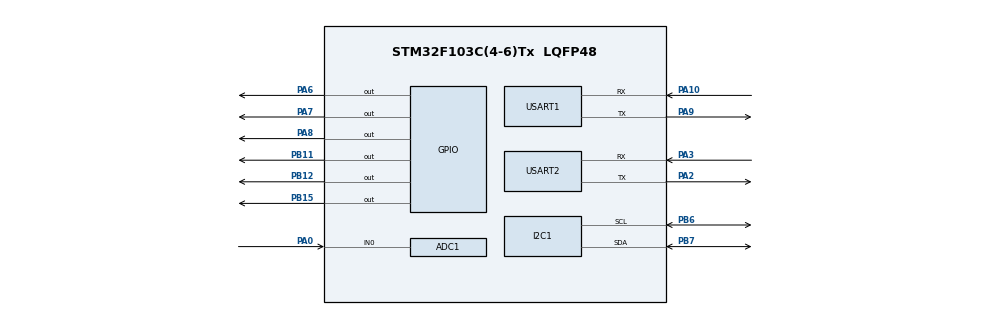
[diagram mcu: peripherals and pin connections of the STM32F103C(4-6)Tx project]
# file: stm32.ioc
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ADC1.Channel-0\#ChannelRegularConversion=ADC_CHANNEL_0
ADC1.NbrOfConversionFlag=1
ADC1.Rank-0\#ChannelRegularConversion=1
ADC1.SamplingTime-0\#ChannelRegularConversion=ADC_SAMPLETIME_1CYCLE_5
ADC1.master=1
Mcu.Family=STM32F1
Mcu.Name=STM32F103C(4-6)Tx
Mcu.Package=LQFP48
NVIC.PriorityGroup=NVIC_PRIORITYGROUP_4
PA0-WKUP.Signal=ADCx_IN0
PA10.Mode=Asynchronous
PA10.Signal=USART1_RX
PA13.Mode=Serial_Wire
PA13.Signal=SYS_JTMS-SWDIO
PA14.Mode=Serial_Wire
PA14.Signal=SYS_JTCK-SWCLK
PA2.Mode=Asynchronous
PA2.Signal=USART2_TX
PA3.Mode=Asynchronous
PA3.Signal=USART2_RX
PA6.Signal=GPIO_Output
PA7.Signal=GPIO_Output
PA8.Signal=GPIO_Output
PA9.Mode=Asynchronous
PA9.Signal=USART1_TX
PB11.Signal=GPIO_Output
PB12.Signal=GPIO_Output
PB15.Signal=GPIO_Output
PB6.Mode=I2C
PB6.Signal=I2C1_SCL
PB7.Mode=I2C
PB7.Signal=I2C1_SDA
ProjectManager.HeapSize=0x200
ProjectManager.StackSize=0x400
ProjectManager.TargetToolchain=STM32CubeIDE
RCC.APB1Freq_Value=8000000
RCC.APB2Freq_Value=8000000
SH.ADCx_IN0.0=ADC1_IN0,IN0
USART1.VirtualMode=VM_ASYNC
USART2.VirtualMode=VM_ASYNC
board=custom

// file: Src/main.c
/* USER CODE BEGIN Header */
/**
  ******************************************************************************
  * @file           : main.c
  * @brief          : Main program body
  ******************************************************************************
  * @attention
  *
  * <h2><center>&copy; Copyright (c) 2019 STMicroelectronics.
  * All rights reserved.</center></h2>
  *
  * This software component is licensed by ST under BSD 3-Clause license,
  * the "License"; You may not use this file except in compliance with the
  * License. You may obtain a copy of the License at:
  *                        opensource.org/licenses/BSD-3-Clause
  *
  ******************************************************************************
  */
/* USER CODE END Header */

#include "main.h"

ADC_HandleTypeDef hadc1;

I2C_HandleTypeDef hi2c1;

UART_HandleTypeDef huart1;
UART_HandleTypeDef huart2;

void SystemClock_Config(void);
static void MX_GPIO_Init(void);
static void MX_ADC1_Init(void);
static void MX_I2C1_Init(void);
static void MX_USART1_UART_Init(void);
static void MX_USART2_UART_Init(void);
/* USER CODE BEGIN PFP */

void open(void);
void close(void);
void enable_esp8266(void);

/* USER CODE END PFP */

/* USER CODE BEGIN 0 */

void open(void)
{
	HAL_GPIO_WritePin(GPIOA, GPIO_PIN_15, GPIO_PIN_RESET);
    HAL_Delay(100);
    for(int i = 0; i < 50; i++)
    {
		HAL_GPIO_WritePin(GPIOA, GPIO_PIN_6, GPIO_PIN_SET);
	    HAL_Delay(2);
		HAL_GPIO_WritePin(GPIOA, GPIO_PIN_6, GPIO_PIN_RESET);
	    HAL_Delay(18);
    }
	HAL_GPIO_WritePin(GPIOA, GPIO_PIN_15, GPIO_PIN_SET);
}

void close(void)
{
	HAL_GPIO_WritePin(GPIOA, GPIO_PIN_15, GPIO_PIN_RESET);
    HAL_Delay(100);
    for(int i = 0; i < 50; i++)
    {
		HAL_GPIO_WritePin(GPIOA, GPIO_PIN_6, GPIO_PIN_SET);
	    HAL_Delay(1);
		HAL_GPIO_WritePin(GPIOA, GPIO_PIN_6, GPIO_PIN_RESET);
	    HAL_Delay(19);
    }
	HAL_GPIO_WritePin(GPIOA, GPIO_PIN_15, GPIO_PIN_SET);
}

void enable_esp8266(void)
{
	HAL_GPIO_WritePin(GPIOB, GPIO_PIN_11, GPIO_PIN_RESET);
	HAL_GPIO_WritePin(GPIOB, GPIO_PIN_12, GPIO_PIN_SET);
	HAL_GPIO_WritePin(GPIOB, GPIO_PIN_15, GPIO_PIN_SET);
}

void process_esp8266_uart(void)
{
	const char* code = "open";
	static int index = 0;
	uint8_t buffer;
    HAL_UART_Receive(&huart2, &buffer, 1, HAL_MAX_DELAY);
    if(code[index] == buffer)
    	index++;
    else if(code[0] == buffer)
    	index = 1;
    else
    	index = 0;

    if(index == 3)
    	open();
}

/* USER CODE END 0 */

int main(void)
{

  /* MCU Configuration--------------------------------------------------------*/

  /* Reset of all peripherals, Initializes the Flash interface and the Systick. */
  HAL_Init();

  /* Configure the system clock */
  SystemClock_Config();

  /* Initialize all configured peripherals */
  MX_GPIO_Init();
  MX_ADC1_Init();
  MX_I2C1_Init();
  MX_USART1_UART_Init();
  MX_USART2_UART_Init();
  /* USER CODE BEGIN 2 */
  close();
  enable_esp8266();
  /* USER CODE END 2 */

  /* Infinite loop */
  while (1)
  {
	  process_esp8266_uart();
  }
}

void SystemClock_Config(void)
{
  RCC_OscInitTypeDef RCC_OscInitStruct = {0};
  RCC_ClkInitTypeDef RCC_ClkInitStruct = {0};
  RCC_PeriphCLKInitTypeDef PeriphClkInit = {0};

  /** Initializes the CPU, AHB and APB busses clocks
  */
  RCC_OscInitStruct.OscillatorType = RCC_OSCILLATORTYPE_HSI;
  RCC_OscInitStruct.HSIState = RCC_HSI_ON;
  RCC_OscInitStruct.HSICalibrationValue = RCC_HSICALIBRATION_DEFAULT;
  RCC_OscInitStruct.PLL.PLLState = RCC_PLL_NONE;
  if (HAL_RCC_OscConfig(&RCC_OscInitStruct) != HAL_OK)
  {
    Error_Handler();
  }
  /** Initializes the CPU, AHB and APB busses clocks
  */
  RCC_ClkInitStruct.ClockType = RCC_CLOCKTYPE_HCLK|RCC_CLOCKTYPE_SYSCLK
                              |RCC_CLOCKTYPE_PCLK1|RCC_CLOCKTYPE_PCLK2;
  RCC_ClkInitStruct.SYSCLKSource = RCC_SYSCLKSOURCE_HSI;
  RCC_ClkInitStruct.AHBCLKDivider = RCC_SYSCLK_DIV1;
  RCC_ClkInitStruct.APB1CLKDivider = RCC_HCLK_DIV1;
  RCC_ClkInitStruct.APB2CLKDivider = RCC_HCLK_DIV1;

  if (HAL_RCC_ClockConfig(&RCC_ClkInitStruct, FLASH_LATENCY_0) != HAL_OK)
  {
    Error_Handler();
  }
  PeriphClkInit.PeriphClockSelection = RCC_PERIPHCLK_ADC;
  PeriphClkInit.AdcClockSelection = RCC_ADCPCLK2_DIV2;
  if (HAL_RCCEx_PeriphCLKConfig(&PeriphClkInit) != HAL_OK)
  {
    Error_Handler();
  }
}

static void MX_ADC1_Init(void)
{

  ADC_ChannelConfTypeDef sConfig = {0};

  /** Common config
  */
  hadc1.Instance = ADC1;
  hadc1.Init.ScanConvMode = ADC_SCAN_DISABLE;
  hadc1.Init.ContinuousConvMode = DISABLE;
  hadc1.Init.DiscontinuousConvMode = DISABLE;
  hadc1.Init.ExternalTrigConv = ADC_SOFTWARE_START;
  hadc1.Init.DataAlign = ADC_DATAALIGN_RIGHT;
  hadc1.Init.NbrOfConversion = 1;
  if (HAL_ADC_Init(&hadc1) != HAL_OK)
  {
    Error_Handler();
  }
  /** Configure Regular Channel
  */
  sConfig.Channel = ADC_CHANNEL_0;
  sConfig.Rank = ADC_REGULAR_RANK_1;
  sConfig.SamplingTime = ADC_SAMPLETIME_1CYCLE_5;
  if (HAL_ADC_ConfigChannel(&hadc1, &sConfig) != HAL_OK)
  {
    Error_Handler();
  }

}

static void MX_I2C1_Init(void)
{

  hi2c1.Instance = I2C1;
  hi2c1.Init.ClockSpeed = 100000;
  hi2c1.Init.DutyCycle = I2C_DUTYCYCLE_2;
  hi2c1.Init.OwnAddress1 = 0;
  hi2c1.Init.AddressingMode = I2C_ADDRESSINGMODE_7BIT;
  hi2c1.Init.DualAddressMode = I2C_DUALADDRESS_DISABLE;
  hi2c1.Init.OwnAddress2 = 0;
  hi2c1.Init.GeneralCallMode = I2C_GENERALCALL_DISABLE;
  hi2c1.Init.NoStretchMode = I2C_NOSTRETCH_DISABLE;
  if (HAL_I2C_Init(&hi2c1) != HAL_OK)
  {
    Error_Handler();
  }

}

static void MX_USART1_UART_Init(void)
{

  huart1.Instance = USART1;
  huart1.Init.BaudRate = 115200;
  huart1.Init.WordLength = UART_WORDLENGTH_8B;
  huart1.Init.StopBits = UART_STOPBITS_1;
  huart1.Init.Parity = UART_PARITY_NONE;
  huart1.Init.Mode = UART_MODE_TX_RX;
  huart1.Init.HwFlowCtl = UART_HWCONTROL_NONE;
  huart1.Init.OverSampling = UART_OVERSAMPLING_16;
  if (HAL_UART_Init(&huart1) != HAL_OK)
  {
    Error_Handler();
  }

}

static void MX_USART2_UART_Init(void)
{

  huart2.Instance = USART2;
  huart2.Init.BaudRate = 9600;
  huart2.Init.WordLength = UART_WORDLENGTH_8B;
  huart2.Init.StopBits = UART_STOPBITS_1;
  huart2.Init.Parity = UART_PARITY_NONE;
  huart2.Init.Mode = UART_MODE_TX_RX;
  huart2.Init.HwFlowCtl = UART_HWCONTROL_NONE;
  huart2.Init.OverSampling = UART_OVERSAMPLING_16;
  if (HAL_UART_Init(&huart2) != HAL_OK)
  {
    Error_Handler();
  }

}

static void MX_GPIO_Init(void)
{
  GPIO_InitTypeDef GPIO_InitStruct = {0};

  /* GPIO Ports Clock Enable */
  __HAL_RCC_GPIOA_CLK_ENABLE();
  __HAL_RCC_GPIOB_CLK_ENABLE();

  /*Configure GPIO pin Output Level */
  HAL_GPIO_WritePin(GPIOA, GPIO_PIN_6|GPIO_PIN_7|GPIO_PIN_8, GPIO_PIN_RESET);

  /*Configure GPIO pin Output Level */
  HAL_GPIO_WritePin(GPIOB, GPIO_PIN_11|GPIO_PIN_12|GPIO_PIN_15, GPIO_PIN_RESET);

  /*Configure GPIO pins : PA6 PA7 PA8 */
  GPIO_InitStruct.Pin = GPIO_PIN_6|GPIO_PIN_7|GPIO_PIN_8;
  GPIO_InitStruct.Mode = GPIO_MODE_OUTPUT_PP;
  GPIO_InitStruct.Pull = GPIO_NOPULL;
  GPIO_InitStruct.Speed = GPIO_SPEED_FREQ_LOW;
  HAL_GPIO_Init(GPIOA, &GPIO_InitStruct);

  /*Configure GPIO pins : PB11 PB12 PB15 */
  GPIO_InitStruct.Pin = GPIO_PIN_11|GPIO_PIN_12|GPIO_PIN_15;
  GPIO_InitStruct.Mode = GPIO_MODE_OUTPUT_PP;
  GPIO_InitStruct.Pull = GPIO_NOPULL;
  GPIO_InitStruct.Speed = GPIO_SPEED_FREQ_LOW;
  HAL_GPIO_Init(GPIOB, &GPIO_InitStruct);

}

void Error_Handler(void)
{
}

/************************ (C) COPYRIGHT STMicroelectronics *****END OF FILE****/
